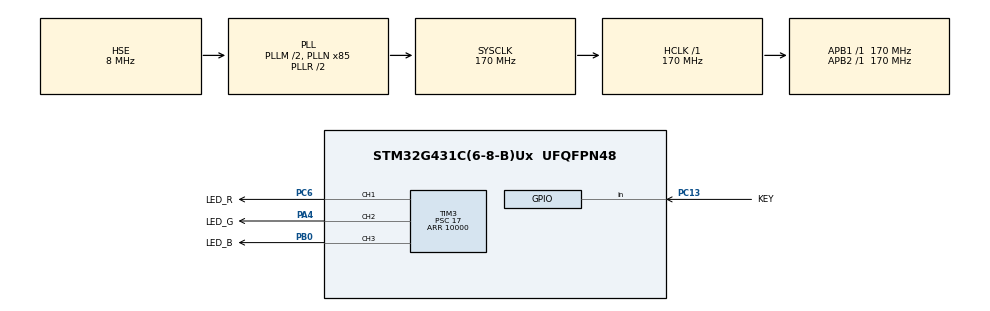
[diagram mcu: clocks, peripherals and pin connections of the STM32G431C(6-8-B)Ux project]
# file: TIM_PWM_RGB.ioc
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Mcu.Family=STM32G4
Mcu.Name=STM32G431C(6-8-B)Ux
Mcu.Package=UFQFPN48
NVIC.PriorityGroup=NVIC_PRIORITYGROUP_4
PA13.Mode=Serial_Wire
PA13.Signal=SYS_JTMS-SWDIO
PA14.Mode=Serial_Wire
PA14.Signal=SYS_JTCK-SWCLK
PA4.GPIO_Label=LED_G
PA4.Signal=S_TIM3_CH2
PB0.GPIO_Label=LED_B
PB0.Signal=S_TIM3_CH3
PC13.GPIO_Label=KEY
PC13.GPIO_PuPd=GPIO_PULLDOWN
PC13.Signal=GPIO_Input
PC6.GPIO_Label=LED_R
PC6.Signal=S_TIM3_CH1
PF0-OSC_IN.Mode=HSE-External-Oscillator
PF0-OSC_IN.Signal=RCC_OSC_IN
PF1-OSC_OUT.Mode=HSE-External-Oscillator
PF1-OSC_OUT.Signal=RCC_OSC_OUT
ProjectManager.HeapSize=0x200
ProjectManager.StackSize=0x400
ProjectManager.TargetToolchain=STM32CubeIDE
RCC.ADC12Freq_Value=170000000
RCC.AHBFreq_Value=170000000
RCC.APB1Freq_Value=170000000
RCC.APB1TimFreq_Value=170000000
RCC.APB2Freq_Value=170000000
RCC.APB2TimFreq_Value=170000000
RCC.CortexFreq_Value=170000000
RCC.EXTERNAL_CLOCK_VALUE=12288000
RCC.HCLKFreq_Value=170000000
RCC.HSE_VALUE=8000000
RCC.HSI48_VALUE=48000000
RCC.HSI_VALUE=16000000
RCC.LSE_VALUE=32768
RCC.PLLM=RCC_PLLM_DIV2
RCC.PLLN=85
RCC.PLLSourceVirtual=RCC_PLLSOURCE_HSE
RCC.SYSCLKFreq_VALUE=170000000
RCC.SYSCLKSource=RCC_SYSCLKSOURCE_PLLCLK
RCC.USBFreq_Value=170000000
RCC.VCOOutputFreq_Value=340000000
SH.S_TIM3_CH1.0=TIM3_CH1,PWM Generation1 CH1
SH.S_TIM3_CH2.0=TIM3_CH2,PWM Generation2 CH2
SH.S_TIM3_CH3.0=TIM3_CH3,PWM Generation3 CH3
TIM3.Channel-PWM\ Generation1\ CH1=TIM_CHANNEL_1
TIM3.Channel-PWM\ Generation2\ CH2=TIM_CHANNEL_2
TIM3.Channel-PWM\ Generation3\ CH3=TIM_CHANNEL_3
TIM3.PeriodNoDither=10000
TIM3.Prescaler=17
VP_SYS_VS_DBSignals.Mode=DisableDeadBatterySignals
board=custom

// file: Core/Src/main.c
/* USER CODE BEGIN Header */
/**
  ******************************************************************************
  * @file           : main.c
  * @brief          : Main program body
  ******************************************************************************
  * @attention
  *
  * Copyright (c) 2025 STMicroelectronics.
  * All rights reserved.
  *
  * This software is licensed under terms that can be found in the LICENSE file
  * in the root directory of this software component.
  * If no LICENSE file comes with this software, it is provided AS-IS.
  *
  ******************************************************************************
  */
/* USER CODE END Header */
#include "main.h"

/* USER CODE BEGIN PD */

#define PWM_INC_R	10
#define PWM_INC_G	15
#define PWM_INC_B	20

/* USER CODE END PD */

TIM_HandleTypeDef htim3;

void SystemClock_Config(void);
static void MX_GPIO_Init(void);
static void MX_TIM3_Init(void);

/* USER CODE BEGIN 0 */

void SetRGB(uint32_t pwm_value_r, uint32_t pwm_value_g, uint32_t pwm_value_b) {
	TIM3->CCR1 = pwm_value_r;
	TIM3->CCR2 = pwm_value_g;
	TIM3->CCR3 = pwm_value_b;
}

/* USER CODE END 0 */

int main(void)
{

  /* USER CODE BEGIN 1 */
	int16_t PWM_Value_R = 0;
	int16_t PWM_Value_Inc_R = PWM_INC_R;

	int16_t PWM_Value_G = 0;
	int16_t PWM_Value_Inc_G = PWM_INC_G;

	int16_t PWM_Value_B = 0;
	int16_t PWM_Value_Inc_B = PWM_INC_B;
  /* USER CODE END 1 */

  /* MCU Configuration--------------------------------------------------------*/

  /* Reset of all peripherals, Initializes the Flash interface and the Systick. */
  HAL_Init();

  /* Configure the system clock */
  SystemClock_Config();

  /* Initialize all configured peripherals */
  MX_GPIO_Init();
  MX_TIM3_Init();
  /* USER CODE BEGIN 2 */

  HAL_TIM_PWM_Start(&htim3, TIM_CHANNEL_1);
  HAL_TIM_PWM_Start(&htim3, TIM_CHANNEL_2);
  HAL_TIM_PWM_Start(&htim3, TIM_CHANNEL_3);
  SetRGB(0, 0, 0);

  /* USER CODE END 2 */

  /* Infinite loop */
  /* USER CODE BEGIN WHILE */
  while (1)
  {
	  // Set RGB PWM
	  SetRGB((uint32_t) PWM_Value_R, (uint32_t) PWM_Value_G, (uint32_t) PWM_Value_B);

	  PWM_Value_R = PWM_Value_R + PWM_Value_Inc_R;
	  PWM_Value_G = PWM_Value_G + PWM_Value_Inc_G;
	  PWM_Value_B = PWM_Value_B + PWM_Value_Inc_B;

	  if (PWM_Value_R > htim3.Init.Period-1) {
		  PWM_Value_Inc_R = -PWM_INC_R;
	  }
	  if (PWM_Value_R < 1) {
		  PWM_Value_Inc_R = PWM_INC_R;
	  }

	  if (PWM_Value_G > htim3.Init.Period-1) {
		  PWM_Value_Inc_G= -PWM_INC_G;
	  }
	  if (PWM_Value_G < 1) {
		  PWM_Value_Inc_G = PWM_INC_G;
	  }

	  if (PWM_Value_B > htim3.Init.Period-1) {
		  PWM_Value_Inc_B = -PWM_INC_B;
	  }
	  if (PWM_Value_B < 1) {
		  PWM_Value_Inc_B = PWM_INC_B;
	  }

	  HAL_Delay(1);
    /* USER CODE END WHILE */

  }
}

void SystemClock_Config(void)
{
  RCC_OscInitTypeDef RCC_OscInitStruct = {0};
  RCC_ClkInitTypeDef RCC_ClkInitStruct = {0};

  /** Configure the main internal regulator output voltage
  */
  HAL_PWREx_ControlVoltageScaling(PWR_REGULATOR_VOLTAGE_SCALE1_BOOST);

  /** Initializes the RCC Oscillators according to the specified parameters
  * in the RCC_OscInitTypeDef structure.
  */
  RCC_OscInitStruct.OscillatorType = RCC_OSCILLATORTYPE_HSE;
  RCC_OscInitStruct.HSEState = RCC_HSE_ON;
  RCC_OscInitStruct.PLL.PLLState = RCC_PLL_ON;
  RCC_OscInitStruct.PLL.PLLSource = RCC_PLLSOURCE_HSE;
  RCC_OscInitStruct.PLL.PLLM = RCC_PLLM_DIV2;
  RCC_OscInitStruct.PLL.PLLN = 85;
  RCC_OscInitStruct.PLL.PLLP = RCC_PLLP_DIV2;
  RCC_OscInitStruct.PLL.PLLQ = RCC_PLLQ_DIV2;
  RCC_OscInitStruct.PLL.PLLR = RCC_PLLR_DIV2;
  if (HAL_RCC_OscConfig(&RCC_OscInitStruct) != HAL_OK)
  {
    Error_Handler();
  }

  /** Initializes the CPU, AHB and APB buses clocks
  */
  RCC_ClkInitStruct.ClockType = RCC_CLOCKTYPE_HCLK|RCC_CLOCKTYPE_SYSCLK
                              |RCC_CLOCKTYPE_PCLK1|RCC_CLOCKTYPE_PCLK2;
  RCC_ClkInitStruct.SYSCLKSource = RCC_SYSCLKSOURCE_PLLCLK;
  RCC_ClkInitStruct.AHBCLKDivider = RCC_SYSCLK_DIV1;
  RCC_ClkInitStruct.APB1CLKDivider = RCC_HCLK_DIV1;
  RCC_ClkInitStruct.APB2CLKDivider = RCC_HCLK_DIV1;

  if (HAL_RCC_ClockConfig(&RCC_ClkInitStruct, FLASH_LATENCY_4) != HAL_OK)
  {
    Error_Handler();
  }
}

static void MX_TIM3_Init(void)
{

  TIM_MasterConfigTypeDef sMasterConfig = {0};
  TIM_OC_InitTypeDef sConfigOC = {0};

  htim3.Instance = TIM3;
  htim3.Init.Prescaler = 17;
  htim3.Init.CounterMode = TIM_COUNTERMODE_UP;
  htim3.Init.Period = 10000;
  htim3.Init.ClockDivision = TIM_CLOCKDIVISION_DIV1;
  htim3.Init.AutoReloadPreload = TIM_AUTORELOAD_PRELOAD_DISABLE;
  if (HAL_TIM_PWM_Init(&htim3) != HAL_OK)
  {
    Error_Handler();
  }
  sMasterConfig.MasterOutputTrigger = TIM_TRGO_RESET;
  sMasterConfig.MasterSlaveMode = TIM_MASTERSLAVEMODE_DISABLE;
  if (HAL_TIMEx_MasterConfigSynchronization(&htim3, &sMasterConfig) != HAL_OK)
  {
    Error_Handler();
  }
  sConfigOC.OCMode = TIM_OCMODE_PWM1;
  sConfigOC.Pulse = 0;
  sConfigOC.OCPolarity = TIM_OCPOLARITY_HIGH;
  sConfigOC.OCFastMode = TIM_OCFAST_DISABLE;
  if (HAL_TIM_PWM_ConfigChannel(&htim3, &sConfigOC, TIM_CHANNEL_1) != HAL_OK)
  {
    Error_Handler();
  }
  if (HAL_TIM_PWM_ConfigChannel(&htim3, &sConfigOC, TIM_CHANNEL_2) != HAL_OK)
  {
    Error_Handler();
  }
  if (HAL_TIM_PWM_ConfigChannel(&htim3, &sConfigOC, TIM_CHANNEL_3) != HAL_OK)
  {
    Error_Handler();
  }
  HAL_TIM_MspPostInit(&htim3);

}

static void MX_GPIO_Init(void)
{
  GPIO_InitTypeDef GPIO_InitStruct = {0};

  /* GPIO Ports Clock Enable */
  __HAL_RCC_GPIOC_CLK_ENABLE();
  __HAL_RCC_GPIOF_CLK_ENABLE();
  __HAL_RCC_GPIOA_CLK_ENABLE();
  __HAL_RCC_GPIOB_CLK_ENABLE();

  /*Configure GPIO pin : KEY_Pin */
  GPIO_InitStruct.Pin = KEY_Pin;
  GPIO_InitStruct.Mode = GPIO_MODE_INPUT;
  GPIO_InitStruct.Pull = GPIO_PULLDOWN;
  HAL_GPIO_Init(KEY_GPIO_Port, &GPIO_InitStruct);

}

void Error_Handler(void)
{
  __disable_irq();
  while (1)
  {
  }
}
